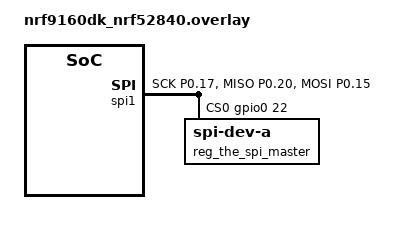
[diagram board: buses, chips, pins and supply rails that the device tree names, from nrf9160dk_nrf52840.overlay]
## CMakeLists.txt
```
cmake_minimum_required(VERSION 3.20.0)
find_package(Zephyr REQUIRED HINTS $ENV{ZEPHYR_BASE})

project(nrf52)

target_sources(app PRIVATE src/main.c)
```

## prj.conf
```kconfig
CONFIG_GPIO=y
CONFIG_SPI=y
CONFIG_SPI_ASYNC=y

CONFIG_SERIAL=y
CONFIG_CONSOLE=y
CONFIG_LOG=y
CONFIG_LOG_PRINTK=n
CONFIG_LOG_OUTPUT=y
```

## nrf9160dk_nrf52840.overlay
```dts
/*    nRF9160 DK GPIO interface between nRF9160 and nRF52840
*
*    This interface can be used for inter-SoC communication on the DK.
*    The connections are as follows:
*
*     | nRF9160 |                            |    nRF52840    |
* SCK |   P0.17 | -- nRF interface line 0 -- | P0.17          | SCK
* MISO|   P0.18 | -- nRF interface line 1 -- | P0.20          | MISO
* MOSI|   P0.19 | -- nRF interface line 2 -- | P0.15          | MOSI
* CS  |   P0.21 | -- nRF interface line 3 -- | P0.22          | CS
*     |   P0.22 | -- nRF interface line 4 -- | P1.04          |
*     |   P0.23 | -- nRF interface line 5 -- | P1.02          |
*     |   COEX0 | -- nRF interface line 6 -- | P1.13          |
*     |   COEX1 | -- nRF interface line 7 -- | P1.11          |
*     |   COEX2 | -- nRF interface line 8 -- | P1.15          |
* RTS |   P0.24 | -- nRF interface line 9 -- | P0.18 (nRESET) | (in v0.14.0 or later) CTS, nRESET is configurable
*/

#include <nrf9160dk_uart1_on_if0_3.dtsi>

&pinctrl {
    spi1_default_pss: spi1_default_pss {
        group1 {
            psels = <NRF_PSEL(SPIM_SCK, 0, 17)>,
                <NRF_PSEL(SPIM_MISO, 0, 20)>,
                <NRF_PSEL(SPIM_MOSI, 0,15)>;
                // cs = P0.22
            nordic,drive-mode = <NRF_DRIVE_H0H1>;
        };
    };

    spi1_sleep_pss: spi1_sleep_pss {
        group1 {
            psels = <NRF_PSEL(SPIM_SCK, 0, 17)>,
            <NRF_PSEL(SPIM_MISO, 0, 20)>,
            <NRF_PSEL(SPIM_MOSI, 0,15)>;
            // cs = P0.22
            low-power-enable;
        };
    };

};

&uart1 {
    status = "disabled";
};

the_spi_master: &spi1 {
    compatible = "nordic,nrf-spim";
    status = "okay";
    
    pinctrl-0 = < &spi1_default_pss >;
    pinctrl-1 = < &spi1_sleep_pss >;
    pinctrl-names = "default", "sleep";
    cs-gpios = <&gpio0 22 GPIO_ACTIVE_HIGH>;

    reg_the_spi_master: spi-dev-a@0 {
		reg = <0>;
	};
};
```

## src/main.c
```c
#include <zephyr/kernel.h>
#include <zephyr/device.h>
#include <zephyr/devicetree.h>
#include <zephyr/drivers/gpio.h>
#include <zephyr/drivers/spi.h>
#include <zephyr/logging/log.h>

LOG_MODULE_REGISTER(spi_master_main, LOG_LEVEL_INF);

#define SLEEP_TIME_MS   1000

#define THE_SPI_MASTER DT_NODELABEL(the_spi_master)
#define THE_SPI_MASTER_CS_DT_SPEC SPI_CS_GPIOS_DT_SPEC_GET(DT_NODELABEL(reg_the_spi_master))

const struct device *spi_dev;
static struct spi_config spi_cfg = {
	.operation = SPI_WORD_SET(8) | SPI_TRANSFER_MSB | SPI_MODE_CPOL | SPI_MODE_CPHA,
	.frequency = 125000,
	.slave = 0,
	.cs = {.gpio = THE_SPI_MASTER_CS_DT_SPEC, .delay = 0},
};


static void spi_init(void)
{
	spi_dev = DEVICE_DT_GET(THE_SPI_MASTER);
	if(!device_is_ready(spi_dev)) {
		LOG_ERR("SPI master device not ready!\n");
	}
	struct gpio_dt_spec spim_cs_gpio = THE_SPI_MASTER_CS_DT_SPEC;
	if(!device_is_ready(spim_cs_gpio.port)){
		LOG_ERR("SPI master chip select device not ready!\n");
	}
}

static uint8_t tx_buffer[2];
static uint8_t rx_buffer[2];
const struct spi_buf tx_buf = {
    .buf = tx_buffer,
    .len = sizeof(tx_buffer)
};
const struct spi_buf_set tx = {
    .buffers = &tx_buf,
    .count = 1
};

struct spi_buf rx_buf = {
    .buf = rx_buffer,
    .len = sizeof(rx_buffer),
};
const struct spi_buf_set rx = {
    .buffers = &rx_buf,
    .count = 1
};

void spi_master_cb(const struct device *dev, int result, void *data)
{
    LOG_INF("SPI CB Result: %d",result);
    LOG_HEXDUMP_INF(rx_buffer,sizeof(rx_buffer),"Data: ");
}

static int spi_write_test_msg(void)
{
	static uint8_t counter = 0;

	// Update the TX buffer with a rolling counter
	tx_buffer[0] = counter++;
	LOG_INF("SPI TX: 0x%.2x, 0x%.2x\n", tx_buffer[0], tx_buffer[1]);
	
	// Start transaction
	int error = spi_transceive_cb(spi_dev, &spi_cfg, &tx, &rx, spi_master_cb, NULL);
	if(error != 0){
		LOG_ERR("SPI transceive error: %i\n", error);
		return error;
	}

	return 0;
}

int main(void)
{

    spi_init();

    while (1) {
		spi_write_test_msg();

		k_msleep(SLEEP_TIME_MS);

        LOG_INF("Bump");
	}

    return 0;
}
```
